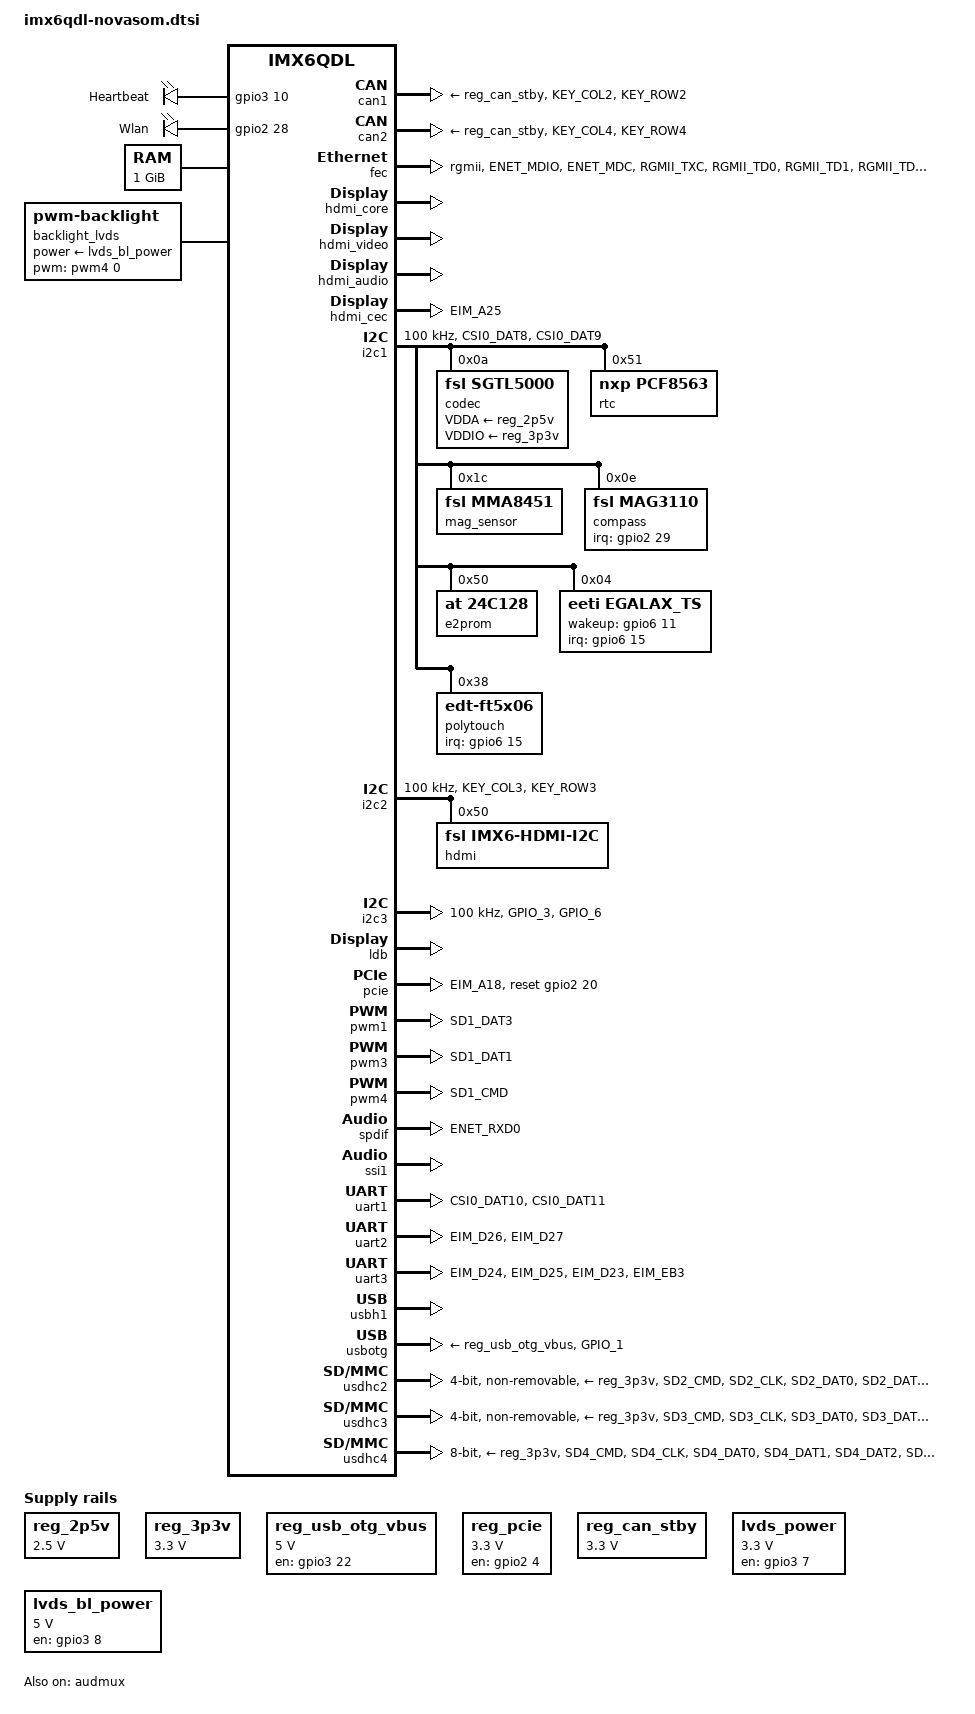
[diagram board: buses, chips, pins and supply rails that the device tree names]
/*
 * Copyright 2013 Boundary Devices, Inc.
 * Copyright 2011-2015 Freescale Semiconductor, Inc.
 * Copyright 2011 Linaro Ltd.
 *
 * The code contained herein is licensed under the GNU General Public
 * License. You may obtain a copy of the GNU General Public License
 * Version 2 or later at the following locations:
 *
 * http://www.opensource.org/licenses/gpl-license.html
 * http://www.gnu.org/copyleft/gpl.html
 */
#include <dt-bindings/gpio/gpio.h>
#include <dt-bindings/input/input.h>

/ {
	aliases {
                mxcfb0 = &mxcfb1;
                mxcfb1 = &mxcfb2;
                mxcfb2 = &mxcfb3;
                mxcfb3 = &mxcfb4;
	};

	chosen {
		stdout-path = &uart2;
	};

        leds {
                compatible = "gpio-leds";
                pinctrl-names = "default";
                pinctrl-0 = <&pinctrl_led>;
                debug-led {
                        label = "Heartbeat";
                        gpios = <&gpio3 10 0>;
                        linux,default-trigger = "heartbeat";
                };
                wifi-led {
                        label = "Wlan";
                        gpios = <&gpio2 28 0>;
                        linux,default-trigger = "phy0radio";
                        retain-state-suspended;
                };

        };

	memory {
		reg = <0x10000000 0x40000000>;
	};

	regulators {
		compatible = "simple-bus";
		#address-cells = <1>;
		#size-cells = <0>;

		reg_2p5v: regulator@0 {
			compatible = "regulator-fixed";
			reg = <0>;
			regulator-name = "2P5V";
			regulator-min-microvolt = <2500000>;
			regulator-max-microvolt = <2500000>;
			regulator-always-on;
		};

		reg_3p3v: regulator@1 {
			compatible = "regulator-fixed";
			reg = <1>;
			regulator-name = "3P3V";
			regulator-min-microvolt = <3300000>;
			regulator-max-microvolt = <3300000>;
			regulator-always-on;
		};

		reg_usb_otg_vbus: regulator@2 {
			compatible = "regulator-fixed";
			reg = <2>;
			regulator-name = "usb_otg_vbus";
			regulator-min-microvolt = <5000000>;
			regulator-max-microvolt = <5000000>;
			gpio = <&gpio3 22 0>;
			enable-active-high;
		};
                reg_pcie: regulator@3 {
                        compatible = "regulator-fixed";
                        reg = <3>;
                        pinctrl-names = "default";
                        pinctrl-0 = <&pinctrl_pcie_reg>;
                        regulator-name = "MPCIE_3V3";
                        regulator-min-microvolt = <3300000>;
                        regulator-max-microvolt = <3300000>;
                        gpio = <&gpio2 4 0>;
                        enable-active-high;
                };
                reg_can_stby: regulator@4 {
                        compatible = "regulator-fixed";
                        regulator-name = "can-stby";
                        regulator-min-microvolt = <3300000>;
                        regulator-max-microvolt = <3300000>;
			regulator-always-on;
                };
		snvs_reg: vsnvs {
			regulator-min-microvolt = <1000000>;
			regulator-max-microvolt = <3000000>;
			regulator-boot-on;
			regulator-always-on;
		};
                lvds_power: lvds_power {
                        compatible = "regulator-fixed";
                        pinctrl-names = "default";
                        pinctrl-0 = <&lvds_enable_reg>;
                        regulator-name = "LVDS_3V3";
                        regulator-min-microvolt = <3300000>;
                        regulator-max-microvolt = <3300000>;
                        gpio = <&gpio3 7 0>;
                        enable-active-high;
			regulator-always-on;
                };
                lvds_bl_power: lvds_bl_power {
                        compatible = "regulator-fixed";
                        pinctrl-names = "default";
                        pinctrl-0 = <&lvds_bl_enable_reg>;
                        regulator-name = "LVDS_5V";
                        regulator-min-microvolt = <5000000>;
                        regulator-max-microvolt = <5000000>;
                        gpio = <&gpio3 8 0>;
                        enable-active-high;
                };
	};

	sound {
		compatible = "fsl,imx6-novasom-sgtl5000",
			     "fsl,imx-audio-sgtl5000";
		model = "imx6-novasom-sgtl5000";
		ssi-controller = <&ssi1>;
		audio-codec = <&codec>;
		audio-routing =
			"MIC_IN", "Mic Jack",
			"Mic Jack", "Mic Bias",
			"Headphone Jack", "HP_OUT";
		mux-int-port = <1>;
		mux-ext-port = <3>;
	};
        sound-spdif {
                compatible = "fsl,imx-audio-spdif";
                model = "imx-spdif";
                spdif-controller = <&spdif>;
                spdif-out;
        };
        sound-hdmi {
                compatible = "fsl,imx6q-audio-hdmi",
                             "fsl,imx-audio-hdmi";
                model = "imx-audio-hdmi";
                hdmi-controller = <&hdmi_audio>;
        };


/*
	backlight_lcd {
		compatible = "pwm-backlight";
		pwms = <&pwm1 0 5000000>;
		brightness-levels = <0 4 8 16 32 64 128 255>;
		default-brightness-level = <7>;
		power-supply = <&lvds_bl_power>;
		status = "okay";
	};
*/
	backlight_lvds {
		compatible = "pwm-backlight";
		pwms = <&pwm4 0 5000000>;
		brightness-levels = <0 4 8 16 32 64 128 255>;
		default-brightness-level = <4>;
		power-supply = <&lvds_bl_power>;
		status = "okay";
	};

	pinctrl_spdif: spdifgrp {
		fsl,pins = <
			MX6QDL_PAD_ENET_RXD0__SPDIF_OUT         0x1b0b0
			>;
	};

	mxcfb1: fb@0 {
		compatible = "fsl,mxc_sdc_fb";
		disp_dev = "hdmi";
		interface_pix_fmt = "RGB24";
		mode_str ="1920x1080M@60";
		default_bpp = <24>;
		int_clk = <0>;
		late_init = <0>;
		status = "okay";
	};
        mxcfb2: fb@1 {
                compatible = "fsl,mxc_sdc_fb";
                disp_dev = "ldb";
                interface_pix_fmt = "RGB666";
                default_bpp = <16>;
                int_clk = <0>;
                late_init = <0>;
                status = "enabled";
        };

        mxcfb3: fb@2 {
                compatible = "fsl,mxc_sdc_fb";
                disp_dev = "ldb";
                interface_pix_fmt = "RGB666";
                default_bpp = <16>;
                int_clk = <0>;
                late_init = <0>;
                status = "enabled";
        };

        mxcfb4: fb@3 {
                compatible = "fsl,mxc_sdc_fb";
                disp_dev = "lcd";
                interface_pix_fmt = "RGB565";
                mode_str ="CLAA-WVGA";
                default_bpp = <16>;
                int_clk = <0>;
                late_init = <0>;
                status = "enabled";
        };

};

&audmux {
	pinctrl-names = "default";
	pinctrl-0 = <&pinctrl_audmux>;
	status = "okay";
};

&can1 { 
        pinctrl-names = "default";
        pinctrl-0 = <&pinctrl_novasom_flexcan1>;
        xceiver-supply = <&reg_can_stby>;
        status = "okay";
};

&can2 { 
        pinctrl-names = "default";
        pinctrl-0 = <&pinctrl_novasom_flexcan2>;
        xceiver-supply = <&reg_can_stby>;
        status = "okay";
};

&fec {
        pinctrl-names = "default";
        pinctrl-0 = <&pinctrl_enet>;
        phy-mode = "rgmii";
        phy-reset-gpios = <&gpio1 25 1>; // was 0
        status = "okay";
};

&hdmi_core {
        ipu_id = <0>;
        disp_id = <0>;
        status = "okay";
};

&hdmi_video {
        fsl,phy_reg_vlev = <0x0294>;
        fsl,phy_reg_cksymtx = <0x800d>;
        status = "okay";
};

&hdmi_audio {
        status = "okay";
};

&hdmi_cec {
        pinctrl-names = "default";
        pinctrl-0 = <&pinctrl_hdmi_cec>;
        status = "okay";
};

&i2c1 {
        clock-frequency = <100000>;
        pinctrl-names = "default";
        pinctrl-0 = <&pinctrl_i2c1>;
        status = "okay";

        codec: sgtl5000@0a {
                compatible = "fsl,sgtl5000";
                reg = <0x0a>;
                clocks = <&clks IMX6QDL_CLK_CKO>;
                VDDA-supply = <&reg_2p5v>;
                VDDIO-supply = <&reg_3p3v>;
        };

        rtc:  pcf8563@51 {
                compatible = "nxp,pcf8563";
                reg = <0x51>;
        };
        mag_sensor: mma8451@1c {
                compatible = "fsl,mma8451";
                reg = <0x1c>;
                position = <3>;
        };
        compass: mag3110@0e {
                compatible = "fsl,mag3110";
                reg = <0x0e>;
                position = <2>;
                interrupt-parent = <&gpio2>;
                interrupts = <29 2>;
        };
        e2prom: eeprom@50 {
                compatible = "at,24c128";
                reg = <0x50>;
        };

        eeti: egalax_ts@04 {
                compatible = "eeti,egalax_ts";
                reg = <0x04>;
                interrupt-parent = <&gpio6>;
                interrupts = <15 2>;
                wakeup-gpios = <&gpio6 11 0>;
        };
        polytouch: edt-ft5x06@38 {
                compatible = "edt-ft5x06";
                reg = <0x38>;
                interrupt-parent = <&gpio6>;
                interrupts = <15 2>;
        };

};

&i2c2 {
        clock-frequency = <100000>;
        pinctrl-names = "default";
        pinctrl-0 = <&pinctrl_i2c2>;
        status = "okay";

        hdmi: edid@50 {
                compatible = "fsl,imx6-hdmi-i2c";
                reg = <0x50>;
        };

};

&i2c3 {
        clock-frequency = <100000>;
        pinctrl-names = "default";
        pinctrl-0 = <&pinctrl_i2c3>;
        status = "okay";
};


&iomuxc {
        pinctrl-names = "default";

        imx6qdl-novasoms {
/*
		hog {
                	pinctrl_hog_1: hoggrp-1 {
                        	fsl,pins = <
                                	MX6QDL_PAD_GPIO_0__CCM_CLKO1    0x130b0
	                        >;
        	        };
	        };
*/
                pinctrl_novasom_flexcan1: novasom-flexcan1 {
                        fsl,pins = <
                                MX6QDL_PAD_KEY_COL2__FLEXCAN1_TX	0x130b0
                                MX6QDL_PAD_KEY_ROW2__FLEXCAN1_RX	0x130b0
                        >;
                };

                pinctrl_novasom_flexcan2: novasom-flexcan2 {
                        fsl,pins = <
                                MX6QDL_PAD_KEY_COL4__FLEXCAN2_TX	0x130b0
                                MX6QDL_PAD_KEY_ROW4__FLEXCAN2_RX	0x130b0
                        >;
                };

                pinctrl_audmux: audmuxgrp {
                        fsl,pins = <
                                MX6QDL_PAD_CSI0_DAT7__AUD3_RXD          0x130b0
                                MX6QDL_PAD_CSI0_DAT4__AUD3_TXC          0x130b0
                                MX6QDL_PAD_CSI0_DAT5__AUD3_TXD          0x110b0
                                MX6QDL_PAD_CSI0_DAT6__AUD3_TXFS         0x130b0
				MX6QDL_PAD_GPIO_0__CCM_CLKO1		0x130b0 /* AUD4_MCK */
                        >;
                };

                pinctrl_enet: enetgrp {
                        fsl,pins = <
                                MX6QDL_PAD_ENET_MDIO__ENET_MDIO         0x1b0b0
                                MX6QDL_PAD_ENET_MDC__ENET_MDC           0x1b0b0
                                MX6QDL_PAD_RGMII_TXC__RGMII_TXC         0x1b0b0
                                MX6QDL_PAD_RGMII_TD0__RGMII_TD0         0x1b0b0
                                MX6QDL_PAD_RGMII_TD1__RGMII_TD1         0x1b0b0
                                MX6QDL_PAD_RGMII_TD2__RGMII_TD2         0x1b0b0
                                MX6QDL_PAD_RGMII_TD3__RGMII_TD3         0x1b0b0
                                MX6QDL_PAD_RGMII_TX_CTL__RGMII_TX_CTL   0x1b0b0
                                MX6QDL_PAD_ENET_REF_CLK__ENET_TX_CLK    0x1b0b0
                                MX6QDL_PAD_RGMII_RXC__RGMII_RXC         0x1b0b0
                                MX6QDL_PAD_RGMII_RD0__RGMII_RD0         0x1b0b0
                                MX6QDL_PAD_RGMII_RD1__RGMII_RD1         0x1b0b0
                                MX6QDL_PAD_RGMII_RD2__RGMII_RD2         0x1b0b0
                                MX6QDL_PAD_RGMII_RD3__RGMII_RD3         0x1b0b0
                                MX6QDL_PAD_RGMII_RX_CTL__RGMII_RX_CTL   0x1b0b0
                                MX6QDL_PAD_GPIO_16__ENET_REF_CLK        0x4001b0a8
                                MX6QDL_PAD_ENET_TX_EN__GPIO1_IO28       0x000b1
                        >;
                };

                pinctrl_i2c1: i2c1grp {
                        fsl,pins = <
                                MX6QDL_PAD_CSI0_DAT8__I2C1_SDA 0x4001b8b1
                                MX6QDL_PAD_CSI0_DAT9__I2C1_SCL 0x4001b8b1
                        >;
                };

                pinctrl_i2c2: i2c2grp {
                        fsl,pins = <
                                MX6QDL_PAD_KEY_COL3__I2C2_SCL 0x4001b8b1
                                MX6QDL_PAD_KEY_ROW3__I2C2_SDA 0x4001b8b1
                        >;
                };
                pinctrl_i2c3: i2c3grp {
                        fsl,pins = <
                                MX6QDL_PAD_GPIO_3__I2C3_SCL 0x4001b8b1
                                MX6QDL_PAD_GPIO_6__I2C3_SDA 0x4001b8b1
                        >;
                };

                pinctrl_led: ledgrp {
                        fsl,pins = <
                                MX6QDL_PAD_EIM_DA10__GPIO3_IO10 0x17059
                                MX6QDL_PAD_EIM_EB0__GPIO2_IO28  0x17059
                        >;
                };

                lvds_enable_reg: lvdsgrp {
                        fsl,pins = <
				/*MX6QDL_PAD_EIM_DA7__GPIO3_IO07  0x17059*/
                                MX6QDL_PAD_EIM_DA11__GPIO3_IO11  0x17059
                        >;
                };

                lvds_bl_enable_reg: lvdsblgrp {
                        fsl,pins = <
                                MX6QDL_PAD_EIM_DA8__GPIO3_IO08  0x17059
                        >;
                };

                pinctrl_uart1: uart1grp {
                        fsl,pins = <
                                MX6QDL_PAD_CSI0_DAT10__UART1_TX_DATA    0x1b0b1
                                MX6QDL_PAD_CSI0_DAT11__UART1_RX_DATA    0x1b0b1
                        >;
                };

                pinctrl_uart2: uart2grp {
                        fsl,pins = <
                                MX6QDL_PAD_EIM_D26__UART2_TX_DATA 0x1b0b1
                                MX6QDL_PAD_EIM_D27__UART2_RX_DATA 0x1b0b1
                        >;
                };

                pinctrl_uart3: uart3grp {
                        fsl,pins = <
                                MX6QDL_PAD_EIM_D24__UART3_TX_DATA       0x1b0b1
                                MX6QDL_PAD_EIM_D25__UART3_RX_DATA       0x1b0b1
                                MX6QDL_PAD_EIM_D23__UART3_CTS_B         0x1b0b1
                                MX6QDL_PAD_EIM_EB3__UART3_RTS_B         0x1b0b1
                        >;
                };

                pinctrl_usbotg: usbotggrp {
                        fsl,pins = <
                                MX6QDL_PAD_GPIO_1__USB_OTG_ID           0x17059
                        >;
                };

                pinctrl_usdhc2: usdhc2grp {
                        fsl,pins = <
                                MX6QDL_PAD_SD2_CMD__SD2_CMD             0x17059
                                MX6QDL_PAD_SD2_CLK__SD2_CLK             0x10059
                                MX6QDL_PAD_SD2_DAT0__SD2_DATA0          0x17059
                                MX6QDL_PAD_SD2_DAT1__SD2_DATA1          0x17059
                                MX6QDL_PAD_SD2_DAT2__SD2_DATA2          0x17059
                                MX6QDL_PAD_SD2_DAT3__SD2_DATA3          0x17059
                        >;
                };
                pinctrl_usdhc3: usdhc3grp {
                        fsl,pins = <
                                MX6QDL_PAD_SD3_CMD__SD3_CMD             0x17059
                                MX6QDL_PAD_SD3_CLK__SD3_CLK             0x10059
                                MX6QDL_PAD_SD3_DAT0__SD3_DATA0          0x17059
                                MX6QDL_PAD_SD3_DAT1__SD3_DATA1          0x17059
                                MX6QDL_PAD_SD3_DAT2__SD3_DATA2          0x17059
                                MX6QDL_PAD_SD3_DAT3__SD3_DATA3          0x17059
                                MX6QDL_PAD_SD3_DAT4__SD3_DATA4          0x17059
                                MX6QDL_PAD_SD3_DAT5__SD3_DATA5          0x17059
                                MX6QDL_PAD_SD3_DAT6__SD3_DATA6          0x17059
                                MX6QDL_PAD_SD3_DAT7__SD3_DATA7          0x17059
                        >;
                };

                pinctrl_usdhc4: usdhc4grp {
                        fsl,pins = <
                                MX6QDL_PAD_SD4_CMD__SD4_CMD    0x17059
                                MX6QDL_PAD_SD4_CLK__SD4_CLK    0x10059
                                MX6QDL_PAD_SD4_DAT0__SD4_DATA0 0x17059
                                MX6QDL_PAD_SD4_DAT1__SD4_DATA1 0x17059
                                MX6QDL_PAD_SD4_DAT2__SD4_DATA2 0x17059
                                MX6QDL_PAD_SD4_DAT3__SD4_DATA3 0x17059
                                MX6QDL_PAD_SD4_DAT4__SD4_DATA4 0x17059
                                MX6QDL_PAD_SD4_DAT5__SD4_DATA5 0x17059
                                MX6QDL_PAD_SD4_DAT6__SD4_DATA6 0x17059
                                MX6QDL_PAD_SD4_DAT7__SD4_DATA7 0x17059
                        >;
                };
                pinctrl_pwm1: pwm1grp {
                        fsl,pins = <
                                MX6QDL_PAD_SD1_DAT3__PWM1_OUT 0x1b0b1
                        >;
                };
                pinctrl_pwm2: pwm2grp {
                        fsl,pins = <
                                MX6QDL_PAD_SD1_DAT2__PWM2_OUT 0x1b0b1
                        >;
                };
                pinctrl_pwm3: pwm3grp {
                        fsl,pins = <
                                MX6QDL_PAD_SD1_DAT1__PWM3_OUT 0x1b0b1
                        >;
                };
                pinctrl_pwm4: pwm4grp {
                        fsl,pins = <
                                MX6QDL_PAD_SD1_CMD__PWM4_OUT 0x1b0b1
                        >;
                };
                pinctrl_wifi_io: wifi_iogrp {
                        fsl,pins = <
                                MX6QDL_PAD_EIM_EB1__GPIO2_IO29          0x0f0b0         /* EIM_EB1 (Wifi Power Enable) */
                                MX6QDL_PAD_EIM_DA13__GPIO3_IO13         0x80000000      /* BT_ON */
                                MX6QDL_PAD_EIM_DA14__GPIO3_IO14         0x80000000      /* BT_WAKE */
                                MX6QDL_PAD_EIM_DA15__GPIO3_IO15         0x80000000      /* BT_HOST_WAKE */
                                MX6QDL_PAD_ENET_TXD1__GPIO1_IO29        0x80000000      /* WL_HOST_WAKE, input */
                                MX6QDL_PAD_ENET_TXD0__GPIO1_IO30        0x80000000      /* WL_WAKE (unused) */
                                MX6QDL_PAD_EIM_DA9__GPIO3_IO09          0x80000000      /* WiFi ON (reset, active low) */
                                MX6QDL_PAD_GPIO_8__XTALOSC_REF_CLK_32K  0x80000040      /* 32 KHz out clock */
                        >;
                };
                pinctrl_gp: gpgrp {
                        fsl,pins = <
                                MX6QDL_PAD_GPIO_0__CCM_CLKO1            0x130b0
                                MX6QDL_PAD_NANDF_ALE__NAND_ALE          0x80000000      /* eMMC RESET */
                                MX6QDL_PAD_EIM_A19__GPIO2_IO19          0x80000000      /* USB RESET */
                        >;
                };
                pinctrl_hdmi_cec: hdmicecgrp {
                        fsl,pins = <
                                MX6QDL_PAD_EIM_A25__HDMI_TX_CEC_LINE    0x108b0
                        >;
                };
                pinctrl_pcie: pciegrp {
                        fsl,pins = <
                                MX6QDL_PAD_EIM_A18__GPIO2_IO20   0x1b0b0
                        >;
                };

                pinctrl_pcie_reg: pciereggrp {
                        fsl,pins = <
                                MX6QDL_PAD_NANDF_D4__GPIO2_IO04  0x1b0b0
                        >;
                };


        };
};

&ldb {
        status = "okay";

        lvds-channel@0 {
                fsl,data-mapping = "spwg";
                fsl,data-width = <18>;
                status = "okay";

                display-timings {
                        native-mode = <&lvds800x480>;
                        lvds800x480: lvds800x480 {
                                clock-frequency = <25000000>;
                                hactive = <800>;
                                vactive = <480>;
                                hback-porch = <144>;
                                hfront-porch = <16>;
                                vback-porch = <35>;
                                vfront-porch = <10>;
                                hsync-len = <30>;
                                vsync-len = <3>;
                        };
                };
        };

        lvds-channel@1 {
                fsl,data-mapping = "spwg";
                fsl,data-width = <18>;
                primary;
                status = "okay";

                display-timings {
                        native-mode = <&lvds640x480>;
                        lvds640x480: lvds640x480 {
                                clock-frequency = <20000000>;
                                hactive = <640>;
                                vactive = <480>;
                                hback-porch = <144>;
                                hfront-porch = <16>;
                                vback-porch = <35>;
                                vfront-porch = <35>;
                                hsync-len = <30>;
                                vsync-len = <29>;
                        };
                };
        };
};

&pcie {
        pinctrl-names = "default";
        pinctrl-0 = <&pinctrl_pcie>;
        reset-gpio = <&gpio2 20 0>;
        status = "okay";
};

&pwm1 {
	pinctrl-names = "default";
	pinctrl-0 = <&pinctrl_pwm1>;
	status = "okay";
};

&pwm3 {
	pinctrl-names = "default";
	pinctrl-0 = <&pinctrl_pwm3>;
	status = "okay";
};

&pwm4 {
	pinctrl-names = "default";
	pinctrl-0 = <&pinctrl_pwm4>;
	status = "okay";
};

&spdif {
        pinctrl-names = "default";
        pinctrl-0 = <&pinctrl_spdif>;
        status = "okay";
};

&ssi1 {
        fsl,mode = "i2s-slave";
	status = "okay";
};

&uart1 {
        pinctrl-names = "default";
        pinctrl-0 = <&pinctrl_uart1>;
        status = "okay";
};

&uart2 {
        pinctrl-names = "default";
        pinctrl-0 = <&pinctrl_uart2>;
        status = "okay";
};


&uart3 {
        pinctrl-names = "default";
        pinctrl-0 = <&pinctrl_uart3>;
        fsl,uart-has-rtscts;
        status = "okay";
};

&usbh1 {
	status = "okay";
};

&usbotg {
	vbus-supply = <&reg_usb_otg_vbus>;
	pinctrl-names = "default";
	pinctrl-0 = <&pinctrl_usbotg>;
	disable-over-current;
	status = "okay";
};

&usdhc2 {  /* Broadcom Wifi/BT  */
        pinctrl-names = "default";
        pinctrl-0 = <&pinctrl_usdhc2>;
        bus-width = <4>;
        non-removable;
        vmmc-supply = <&reg_3p3v>;
        keep-power-in-suspend;
        status = "okay";
};

&usdhc3 {  /*  uSD slot */
        pinctrl-names = "default";
        pinctrl-0 = <&pinctrl_usdhc3>;
        bus-width = <4>;
        vmmc-supply = <&reg_3p3v>;
        non-removable;
        status = "okay";
};

&usdhc4 {  /*  eMMC slot */
        pinctrl-names = "default";
        pinctrl-0 = <&pinctrl_usdhc4>;
        bus-width = <8>;
        vmmc-supply = <&reg_3p3v>;
        status = "okay";
};

